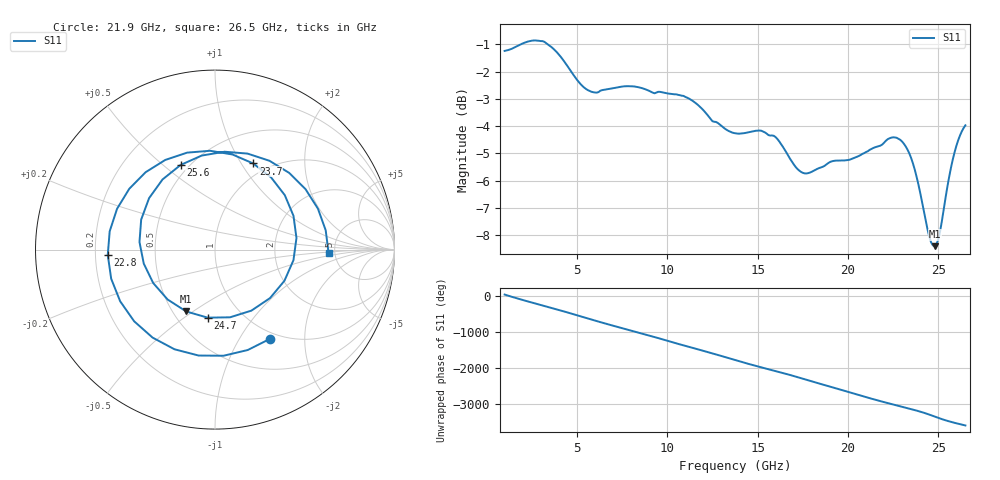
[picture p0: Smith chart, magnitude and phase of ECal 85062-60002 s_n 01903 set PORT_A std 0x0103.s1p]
!Created with skrf (http://scikit-rf.org).
# Hz S RI R 50.0
!freq ReS11 ImS11
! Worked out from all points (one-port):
!   256 points, 1 GHz to 26.5 GHz, reference 50 ohm
!   lowest |S11| = -8.4 dB at 24.8 GHz (marker M1), VSWR 2.23, Z = 29.2 - j23.5 ohm
!   |S11| at or under -10 dB: nowhere
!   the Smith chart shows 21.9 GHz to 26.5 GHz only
!   S11 on the Smith chart (normalised r, x): 21.9 GHz: 0.90, -1.36; 22.8 GHz: 0.25, -0.02; 23.7 GHz: 0.85, +1.13; 24.7 GHz: 0.70, -0.62; 25.6 GHz: 0.45, +0.57; 26.5 GHz: 4.43, -0.29
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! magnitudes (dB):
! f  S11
! 1 GHz  -1.2
! 3.1 GHz  -0.9
! 4.2 GHz  -1.5
! 5.1 GHz  -2.4
! 5.7 GHz  -2.7
! 7.4 GHz  -2.6
! 10.6 GHz  -2.9
! 11.4 GHz  -3.1
! 12.5 GHz  -3.8
! 13.8 GHz  -4.3
! 15.1 GHz  -4.2
! 15.9 GHz  -4.4
! 17 GHz  -5.4
! 17.7 GHz  -5.7
! 19.1 GHz  -5.3
! 20.2 GHz  -5.2
! 21.9 GHz  -4.7
! 22.4 GHz  -4.4
! 22.8 GHz  -4.5
! 23.4 GHz  -5.0
! 23.7 GHz  -5.6
! 24.4 GHz  -7.8
! 24.7 GHz  -8.4
! 24.8 GHz  -8.4
! 25.1 GHz  -7.9
! 25.6 GHz  -5.9
! 26 GHz  -4.7
! 26.5 GHz  -4.0
